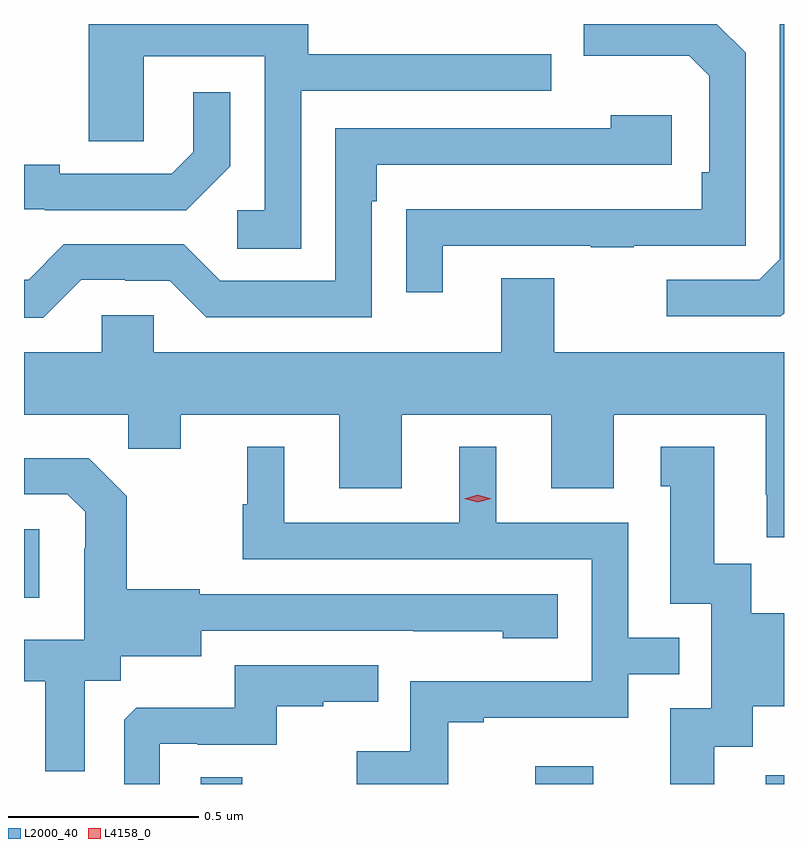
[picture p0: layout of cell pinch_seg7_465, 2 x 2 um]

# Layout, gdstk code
import gdstk
lib = gdstk.Library(unit=1e-6, precision=1e-09)
def R(c, l, rs):  # rectangles x0, y0, x1, y1
    for r in rs: c.add(gdstk.rectangle(r[:2], r[2:], *l))
def P(c, l, *ps):  # polygons
    for p in ps: c.add(gdstk.Polygon(p, *l))
L2000_40 = (2000, 40)
L4158_0 = (4158, 0)

pinch_seg7_465 = lib.new_cell('pinch_seg7_465')
R(pinch_seg7_465, L2000_40, [(264.3,1078.232,264.409,1078.25), (265.181,1078.232,265.333,1078.279), (265.787,1078.232,265.835,1078.255), (263.835,1078.722,263.875,1078.902)])
P(pinch_seg7_465, L2000_40, [(265.835,1079.471),(265.835,1080.232),(265.824,1080.232),(265.824,1079.613),(265.77,1079.559),(265.527,1079.559),(265.527,1079.463),(265.827,1079.463)],
  [(264.937,1079.649),(265.327,1079.649),(265.327,1079.644),(265.439,1079.644),(265.439,1079.649),(265.734,1079.649),(265.734,1080.156),(265.658,1080.232),(265.308,1080.232),(265.308,1080.149),(265.585,1080.149),(265.638,1080.096),(265.638,1079.842),(265.618,1079.842),(265.618,1079.745),(264.943,1079.745),(264.943,1079.744),(264.841,1079.744),(264.841,1079.526),(264.937,1079.526)],
  [(264.564,1080.057),(265.223,1080.057),(265.223,1080.153),(264.583,1080.153),(264.583,1080.232),(264.005,1080.232),(264.005,1079.923),(264.15,1079.923),(264.15,1080.147),(264.468,1080.147),(264.468,1079.742),(264.396,1079.742),(264.396,1079.641),(264.564,1079.641)],
  [(264.378,1079.858),(264.378,1080.052),(264.281,1080.052),(264.281,1079.895),(264.224,1079.838),(263.929,1079.838),(263.929,1079.861),(263.835,1079.861),(263.835,1079.745),(263.89,1079.745),(263.89,1079.742),(264.262,1079.742)],
  [(263.985,1079.559),(264.101,1079.559),(264.101,1079.556),(264.219,1079.556),(264.315,1079.46),(264.75,1079.46),(264.75,1079.765),(264.763,1079.765),(264.763,1079.862),(265.54,1079.862),(265.54,1079.992),(265.379,1079.992),(265.379,1079.958),(264.654,1079.958),(264.654,1079.556),(264.351,1079.556),(264.255,1079.652),(263.94,1079.652),(263.847,1079.559),(263.835,1079.559),(263.835,1079.459),(263.885,1079.459)],
  [(265.835,1079.368),(265.231,1079.368),(265.231,1079.563),(265.091,1079.563),(265.091,1079.368),(264.177,1079.368),(264.177,1079.466),(264.039,1079.466),(264.039,1079.368),(263.835,1079.368),(263.835,1079.204),(264.109,1079.204),(264.109,1079.114),(264.247,1079.114),(264.247,1079.204),(264.665,1079.204),(264.665,1079.01),(264.829,1079.01),(264.829,1079.204),(265.223,1079.204),(265.223,1079.01),(265.387,1079.01),(265.387,1079.204),(265.787,1079.204),(265.787,1078.993),(265.79,1078.993),(265.79,1078.881),(265.835,1078.881)],
  [(265.651,1078.33),(265.753,1078.33),(265.753,1078.436),(265.835,1078.436),(265.835,1078.681),(265.749,1078.681),(265.749,1078.811),(265.651,1078.811),(265.651,1079.119),(265.511,1079.119),(265.511,1079.016),(265.535,1079.016),(265.535,1078.707),(265.644,1078.707),(265.644,1078.431),(265.535,1078.431),(265.535,1078.232),(265.651,1078.232)],
  [(264.951,1078.395),(265.045,1078.395),(265.045,1078.407),(265.425,1078.407),(265.425,1078.521),(265.559,1078.521),(265.559,1078.617),(265.425,1078.617),(265.425,1078.92),(265.078,1078.92),(265.078,1079.119),(264.98,1079.119),(264.98,1078.92),(264.52,1078.92),(264.52,1079.119),(264.422,1079.119),(264.422,1078.968),(264.411,1078.968),(264.411,1078.824),(265.329,1078.824),(265.329,1078.503),(264.852,1078.503),(264.852,1078.318),(264.711,1078.318),(264.711,1078.232),(264.951,1078.232)],
  [(263.995,1078.504),(264.09,1078.504),(264.09,1078.568),(264.301,1078.568),(264.301,1078.635),(264.859,1078.635),(264.859,1078.634),(265.095,1078.634),(265.095,1078.616),(265.24,1078.616),(265.24,1078.731),(264.297,1078.731),(264.297,1078.744),(264.105,1078.744),(264.105,1078.989),(264.005,1079.089),(263.835,1079.089),(263.835,1078.995),(263.949,1078.995),(263.996,1078.948),(263.996,1078.853),(263.994,1078.853),(263.994,1078.612),(263.835,1078.612),(263.835,1078.502),(263.891,1078.502),(263.891,1078.266),(263.995,1078.266)],
  [(264.192,1078.338),(264.292,1078.338),(264.292,1078.335),(264.5,1078.335),(264.5,1078.437),(264.623,1078.437),(264.623,1078.448),(264.767,1078.448),(264.767,1078.545),(264.39,1078.545),(264.39,1078.433),(264.131,1078.433),(264.099,1078.401),(264.099,1078.232),(264.192,1078.232)])
P(pinch_seg7_465, L4158_0, [(265.029,1078.973),(264.993,1078.983),(264.993,1078.983),(264.993,1078.983),(265.029,1078.993),(265.065,1078.983),(265.065,1078.983),(265.065,1078.983)])

lib.write_gds('pinch_seg7_465.gds')
